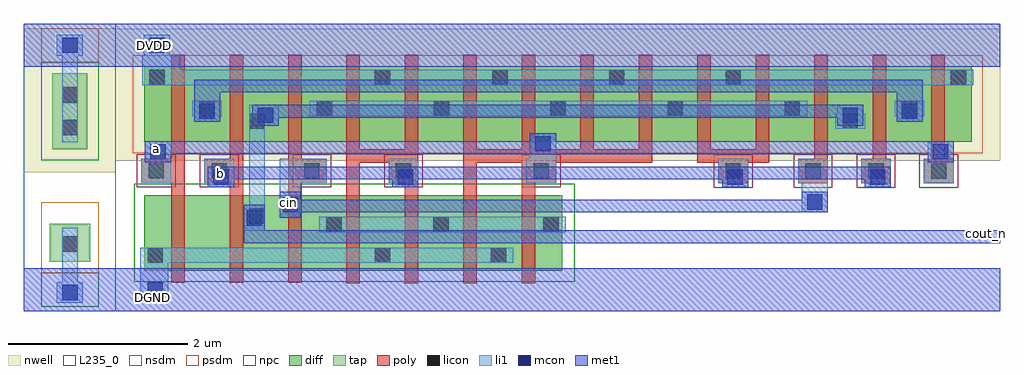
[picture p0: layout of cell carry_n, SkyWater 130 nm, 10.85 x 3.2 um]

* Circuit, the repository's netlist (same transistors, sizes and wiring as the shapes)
* NGSPICE file created from carry_n.ext - technology: sky130A

.subckt carry_n a DVDD b cin DGND cout_n
X0 cout_n b a_n179_261# DVDD sky130_fd_pr__pfet_01v8 ad=0.21 pd=1.34 as=0.21 ps=1.34 w=0.84 l=0.15
X1 a_81_n26# cin cout_n DGND sky130_fd_pr__nfet_01v8 ad=0.21 pd=1.34 as=0.21 ps=1.34 w=0.84 l=0.15
X2 DVDD b a_81_261# DVDD sky130_fd_pr__pfet_01v8 ad=0.21 pd=1.34 as=0.21 ps=1.34 w=0.84 l=0.15
X3 cout_n b a_n179_n26# DGND sky130_fd_pr__nfet_01v8 ad=0.21 pd=1.34 as=0.21 ps=1.34 w=0.84 l=0.15
X4 a_n179_261# a DVDD DVDD sky130_fd_pr__pfet_01v8 ad=0.21 pd=1.34 as=0.252 ps=2.28 w=0.84 l=0.15
X5 a_81_261# a DVDD DVDD sky130_fd_pr__pfet_01v8 ad=0.21 pd=1.34 as=0.21 ps=1.34 w=0.84 l=0.15
X6 DVDD a a_81_261# DVDD sky130_fd_pr__pfet_01v8 ad=0.21 pd=1.34 as=0.21 ps=1.34 w=0.84 l=0.15
X7 DVDD b a_81_261# DVDD sky130_fd_pr__pfet_01v8 ad=0.21 pd=1.34 as=0.21 ps=1.34 w=0.84 l=0.15
X8 a_81_261# b DVDD DVDD sky130_fd_pr__pfet_01v8 ad=0.21 pd=1.34 as=0.21 ps=1.34 w=0.84 l=0.15
X9 a_81_261# b DVDD DVDD sky130_fd_pr__pfet_01v8 ad=0.21 pd=1.34 as=0.21 ps=1.34 w=0.84 l=0.15
X10 a_81_261# a DVDD DVDD sky130_fd_pr__pfet_01v8 ad=0.21 pd=1.34 as=0.21 ps=1.34 w=0.84 l=0.15
X11 DVDD a a_n179_261# DVDD sky130_fd_pr__pfet_01v8 ad=0.252 pd=2.28 as=0.21 ps=1.34 w=0.84 l=0.15
X12 DVDD a a_81_261# DVDD sky130_fd_pr__pfet_01v8 ad=0.21 pd=1.34 as=0.21 ps=1.34 w=0.84 l=0.15
X13 a_n179_261# b cout_n DVDD sky130_fd_pr__pfet_01v8 ad=0.21 pd=1.34 as=0.21 ps=1.34 w=0.84 l=0.15
X14 DGND b a_81_n26# DGND sky130_fd_pr__nfet_01v8 ad=0.21 pd=1.34 as=0.21 ps=1.34 w=0.84 l=0.15
X15 cout_n cin a_81_261# DVDD sky130_fd_pr__pfet_01v8 ad=0.21 pd=1.34 as=0.21 ps=1.34 w=0.84 l=0.15
X16 a_n179_n26# a DGND DGND sky130_fd_pr__nfet_01v8 ad=0.21 pd=1.34 as=0.252 ps=2.28 w=0.84 l=0.15
X17 a_81_n26# a DGND DGND sky130_fd_pr__nfet_01v8 ad=0.252 pd=2.28 as=0.21 ps=1.34 w=0.84 l=0.15
X18 a_81_261# cin cout_n DVDD sky130_fd_pr__pfet_01v8 ad=0.21 pd=1.34 as=0.21 ps=1.34 w=0.84 l=0.15
X19 DGND a a_81_n26# DGND sky130_fd_pr__nfet_01v8 ad=0.21 pd=1.34 as=0.21 ps=1.34 w=0.84 l=0.15
X20 a_81_n26# b DGND DGND sky130_fd_pr__nfet_01v8 ad=0.21 pd=1.34 as=0.21 ps=1.34 w=0.84 l=0.15
.ends

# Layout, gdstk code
from math import pi, radians
import gdstk
lib = gdstk.Library(unit=1e-6, precision=1e-09)
def R(c, l, rs):  # rectangles x0, y0, x1, y1
    for r in rs: c.add(gdstk.rectangle(r[:2], r[2:], *l))
def A(c, l, x, y, w, h, nx, ny, dx, dy):  # array of equal rectangles
    R(c, l, [(x+i*dx, y+j*dy, x+i*dx+w, y+j*dy+h) for i in range(nx) for j in range(ny)])
def P(c, l, *ps):  # polygons
    for p in ps: c.add(gdstk.Polygon(p, *l))
nwell = (64, 20)
diff = (65, 20)
tap = (65, 44)
poly = (66, 20)
licon = (66, 44)
li1 = (67, 20)
mcon = (67, 44)
met1 = (68, 20)
nsdm = (93, 44)
psdm = (94, 20)
npc = (95, 20)
L235_0 = (235, 0)

vias_gen = lib.new_cell('vias_gen')
R(vias_gen, li1, [(0,0,0.29,0.23)])
R(vias_gen, mcon, [(0.06,0.03,0.23,0.2)])
R(vias_gen, met1, [(0,0,0.29,0.23)])

tap_ = lib.new_cell('tap')
R(tap_, nwell, [(-1.455,0.92,-0.435,2.525)])
R(tap_, tap, [(-1.17,-0.07,-0.72,0.35), (-1.14,1.18,-0.75,2.02)])
R(tap_, licon, [(-1.03,0.04,-0.86,0.21), (-1.03,1.335,-0.86,1.505), (-1.03,1.695,-0.86,1.865)])
R(tap_, li1, [(-1.03,-0.3,-0.86,-0.025), (-1.03,-0.025,-0.86,0.305), (-1.03,1.255,-0.86,1.945), (-1.03,1.945,-0.86,2.25)])
R(tap_, met1, [(-1.455,-0.625,-0.435,-0.145), (-1.455,2.095,-0.435,2.575)])
R(tap_, nsdm, [(-1.265,-0.575,-0.625,-0.195), (-1.265,1.055,-0.625,2.145)])
R(tap_, psdm, [(-1.265,-0.195,-0.625,0.59), (-1.265,2.145,-0.625,2.525)])
R(tap_, L235_0, [(-1.455,-0.625,-0.435,2.575)])
tap_.add(gdstk.Reference(vias_gen, (-1.09,-0.53)))
tap_.add(gdstk.Reference(vias_gen, (-1.09,2.22)))

nfet = lib.new_cell('nfet')

pfet = lib.new_cell('pfet')
R(pfet, nwell, [(-0.315,-0.14,9.515,1.325)])
R(pfet, diff, [(0,0.07,9.2,0.91)])
A(pfet, poly, 0.3, -0.2, 0.15, 1.24, 7, 1, 0.65, 0)
A(pfet, poly, 4.85, -0.155, 0.15, 1.195, 6, 1, 0.65, 0)
P(pfet, poly, [(8.75,-0.155),(8.75,1.04),(8.9,1.04),(8.9,-0.155),(8.835,-0.155)])
R(pfet, psdm, [(-0.125,-0.055,9.325,1.035)])

nfet_3 = lib.new_cell('nfet$3')
R(nfet_3, diff, [(0,0.085,4.65,0.925)])
A(nfet_3, poly, 2.25, -0.05, 0.15, 1.17, 4, 1, 0.65, 0)
A(nfet_3, poly, 0.3, -0.045, 0.15, 1.17, 3, 1, 0.65, 0)
R(nfet_3, nsdm, [(-0.11,-0.035,4.79,1.055)])

vias_gen_3 = lib.new_cell('vias_gen$3')
R(vias_gen_3, li1, [(0,0,0.29,0.23)])
R(vias_gen_3, mcon, [(0.06,0.03,0.23,0.2)])
R(vias_gen_3, met1, [(0,0,0.29,0.23)])

vias_gen_1 = lib.new_cell('vias_gen$1')
R(vias_gen_1, poly, [(0,0,0.33,0.27)])
R(vias_gen_1, licon, [(0.08,0.05,0.25,0.22)])
R(vias_gen_1, li1, [(0,0,0.33,0.27)])
R(vias_gen_1, npc, [(-0.05,-0.05,0.38,0.32)])

vias_gen_2 = lib.new_cell('vias_gen$2')

carry_n = lib.new_cell('carry_n')
A(carry_n, poly, -1.045, 0.905, 0.15, 0.16, 7, 1, 0.65, 0)
R(carry_n, licon, [(-1.305,-0.04,-1.135,0.13), (1.22,-0.04,1.39,0.13), (2.51,-0.04,2.68,0.13), (0.68,0.3,0.85,0.47), (1.87,0.3,2.04,0.47), (3.095,0.3,3.265,0.47), (-0.175,0.395,-0.005,0.565), (-0.175,1.45,-0.005,1.62), (6.42,1.45,6.59,1.62), (-0.73,1.59,-0.56,1.76), (0.575,1.59,0.745,1.76), (1.875,1.59,2.045,1.76), (3.17,1.59,3.34,1.76), (4.475,1.59,4.645,1.76), (5.775,1.59,5.945,1.76), (7.08,1.59,7.25,1.76), (-1.285,1.935,-1.115,2.105), (1.22,1.935,1.39,2.105), (2.525,1.935,2.695,2.105), (3.825,1.935,3.995,2.105), (5.12,1.935,5.29,2.105), (7.625,1.935,7.795,2.105)])
R(carry_n, li1, [(-1.385,-0.455,-1.075,-0.04), (0.165,0.5,0.395,1.115), (5.965,0.75,6.255,0.845), (-1.335,1.11,-1.045,1.115), (2.945,1.11,3.235,1.205), (7.365,1.11,7.655,1.115), (6.34,1.45,6.67,1.62), (-0.81,1.59,-0.48,1.76), (7,1.59,7.33,1.76), (-1.365,2.1,-0.945,2.265)])
R(carry_n, met1, [(-1.66,-0.58,8.17,-0.1), (-0.79,1.76,-0.5,1.855), (7.02,1.76,7.31,1.855), (-1.66,2.14,8.17,2.62)])
carry_n.add(gdstk.FlexPath([(-1.365,2.02),(7.875,2.02)], 0.17, ends="flush", simple_path=True, layer=67, datatype=20))  # li1
carry_n.add(gdstk.FlexPath([(3.345,0.385),(0.6,0.385)], 0.17, ends="flush", simple_path=True, layer=67, datatype=20))  # li1
carry_n.add(gdstk.FlexPath([(2.76,0.045),(-1.385,0.045)], 0.17, ends="flush", simple_path=True, layer=67, datatype=20))  # li1
carry_n.add(gdstk.FlexPath([(0.495,1.675),(6.025,1.675)], 0.17, ends="flush", simple_path=True, layer=67, datatype=20))  # li1
carry_n.add(gdstk.FlexPath([(-0.09,1.72),(-0.09,0.315)], 0.17, ends="flush", simple_path=True, layer=67, datatype=20))  # li1
carry_n.add(gdstk.FlexPath([(-1.22,-0.255),(-1.22,-0.075)], 0.17, ends="flush", simple_path=True, layer=67, datatype=20))  # li1
carry_n.add(gdstk.FlexPath([(0.395,0.59),(5.965,0.59)], 0.14, ends="flush", simple_path=True, layer=68, datatype=20))  # met1
carry_n.add(gdstk.FlexPath([(-0.79,1.925),(7.31,1.925)], 0.14, ends="flush", simple_path=True, layer=68, datatype=20))  # met1
carry_n.add(gdstk.FlexPath([(0.15,1.645),(6.36,1.645)], 0.14, ends="flush", simple_path=True, layer=68, datatype=20))  # met1
carry_n.add(gdstk.FlexPath([(-1.045,1.24),(7.365,1.24)], 0.14, ends="flush", simple_path=True, layer=68, datatype=20))  # met1
carry_n.add(gdstk.FlexPath([(-0.345,0.96),(6.665,0.96)], 0.14, ends="flush", simple_path=True, layer=68, datatype=20))  # met1
carry_n.add(gdstk.FlexPath([(-0.235,0.25),(8.17,0.25)], 0.14, ends="flush", simple_path=True, layer=68, datatype=20))  # met1
carry_n.add(gdstk.FlexPath([(4.805,1.15),(5.605,1.15)], 0.15, ends="flush", simple_path=True, layer=66, datatype=20))  # poly
carry_n.add(gdstk.FlexPath([(2.205,1.15),(4.305,1.15)], 0.15, ends="flush", simple_path=True, layer=66, datatype=20))  # poly
carry_n.add(gdstk.FlexPath([(0.905,1.15),(1.705,1.15)], 0.15, ends="flush", simple_path=True, layer=66, datatype=20))  # poly
carry_n.add(gdstk.Reference(tap_, (-1.225,0.045)))
carry_n.add(gdstk.Reference(nfet, (-1.345,-0.035)))
carry_n.add(gdstk.Reference(pfet, (-1.345,1.235)))
carry_n.add(gdstk.Reference(nfet_3, (-1.345,-0.215)))
carry_n.add(gdstk.Reference(vias_gen_3, (-0.79,1.53)))
carry_n.add(gdstk.Reference(vias_gen_3, (-0.14,1.485)))
carry_n.add(gdstk.Reference(vias_gen_3, (6.36,1.485)))
carry_n.add(gdstk.Reference(vias_gen_3, (7.02,1.53)))
carry_n.add(gdstk.Reference(vias_gen_1, (6.625,0.845)))
carry_n.add(gdstk.Reference(vias_gen_3, (-1.35,2.265)))
carry_n.add(gdstk.Reference(vias_gen_3, (-1.335,1.08)))
carry_n.add(gdstk.Reference(vias_gen_3, (2.945,1.17)))
carry_n.add(gdstk.Reference(vias_gen_2, (0.395,0.605)))
carry_n.add(gdstk.Reference(vias_gen_3, (7.365,1.08)))
carry_n.add(gdstk.Reference(vias_gen_3, (-0.635,0.8)))
carry_n.add(gdstk.Reference(vias_gen_3, (1.415,0.8)))
carry_n.add(gdstk.Reference(vias_gen_3, (5.08,0.8)))
carry_n.add(gdstk.Reference(vias_gen_3, (6.665,0.8)))
carry_n.add(gdstk.Reference(vias_gen_3, (5.965,0.52)))
carry_n.add(gdstk.Reference(vias_gen_3, (0.395,0.46), rotation=pi/2))
carry_n.add(gdstk.Reference(vias_gen_3, (-0.005,0.315), rotation=pi/2))
carry_n.add(gdstk.Reference(vias_gen_3, (-1.365,-0.455)))
carry_n.add(gdstk.Reference(vias_gen_1, (7.325,0.845)))
carry_n.add(gdstk.Reference(vias_gen_1, (5.925,0.845)))
carry_n.add(gdstk.Reference(vias_gen_1, (5.04,0.845)))
carry_n.add(gdstk.Reference(vias_gen_1, (2.905,0.85)))
carry_n.add(gdstk.Reference(vias_gen_1, (0.355,0.85)))
carry_n.add(gdstk.Reference(vias_gen_1, (-0.675,0.85)))
carry_n.add(gdstk.Reference(vias_gen_1, (-1.375,0.85)))
carry_n.add(gdstk.Reference(vias_gen_1, (1.375,0.85)))
carry_n.add(gdstk.Label('a', (-1.21,1.23), layer=68, texttype=5))
carry_n.add(gdstk.Label('DVDD', (-1.23,2.375), layer=68, texttype=5))
carry_n.add(gdstk.Label('b', (-0.5,0.955), layer=68, texttype=5))
carry_n.add(gdstk.Label('cin', (0.255,0.63), layer=68, texttype=5))
carry_n.add(gdstk.Label('DGND', (-1.255,-0.425), layer=68, texttype=5))
carry_n.add(gdstk.Label('cout_n', (8.025,0.29), layer=68, texttype=5))

lib.write_gds('carry_n.gds')
